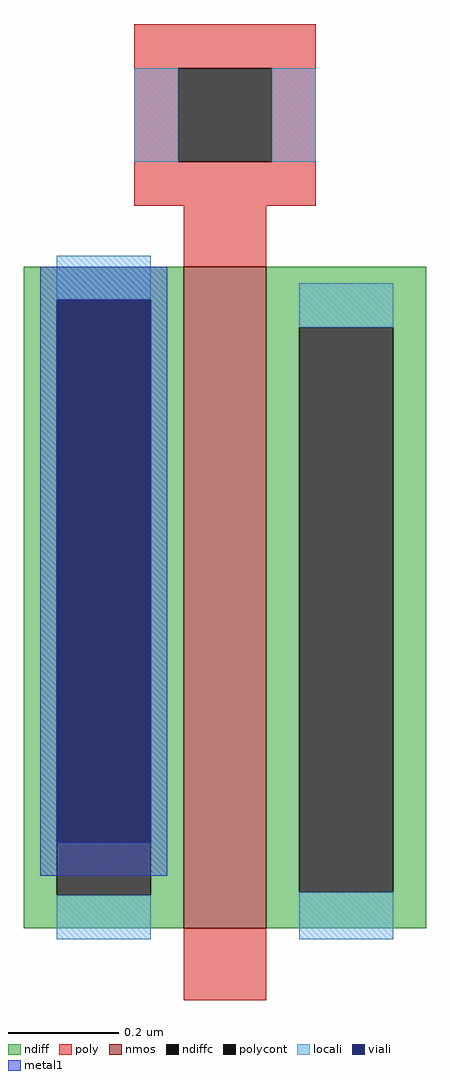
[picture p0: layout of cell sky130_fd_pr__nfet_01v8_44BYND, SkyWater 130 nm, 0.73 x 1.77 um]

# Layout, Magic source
magic
tech sky130A
magscale 1 2
<< nmos >>
rect -15 -120 15 120
<< ndiff >>
rect -73 108 -15 120
rect -73 -108 -61 108
rect -27 -108 -15 108
rect -73 -120 -15 -108
rect 15 98 73 120
rect 15 -107 27 98
rect 61 -107 73 98
rect 15 -120 73 -107
<< ndiffc >>
rect -61 -108 -27 108
rect 27 -107 61 98
<< poly >>
rect -33 192 33 208
rect -33 158 -17 192
rect 17 158 33 192
rect -33 142 33 158
rect -15 120 15 142
rect -15 -146 15 -120
<< polycont >>
rect -17 158 17 192
<< locali >>
rect -33 158 -17 192
rect 17 158 33 192
rect -61 108 -27 124
rect -61 -124 -27 -108
rect 27 98 61 114
rect 27 -124 61 -107
<< viali >>
rect -61 -89 -27 108
<< metal1 >>
rect -67 108 -21 120
rect -67 -89 -61 108
rect -27 -89 -21 108
rect -67 -101 -21 -89
<< properties >>
string gencell sky130_fd_pr__nfet_01v8
string library sky130
string parameters w 1.2 l 0.150 m 1 nf 1 diffcov 100 polycov 100 guard 0 glc 0 grc 0 gtc 0 gbc 0 tbcov 100 rlcov 100 topc 1 botc 1 poverlap 0 doverlap 1 lmin 0.15 wmin 0.42 compatible {sky130_fd_pr__nfet_01v8 sky130_fd_pr__nfet_01v8_lvt  sky130_fd_bs_flash__special_sonosfet_star  sky130_fd_pr__nfet_g5v0d10v5 sky130_fd_pr__nfet_05v0_nvt  sky130_fd_pr__nfet_03v3_nvt} full_metal 0 viasrc 40 viadrn -40 viagate 100 viagb 80 viagr 0 viagl 0 viagt 0
<< end >>
